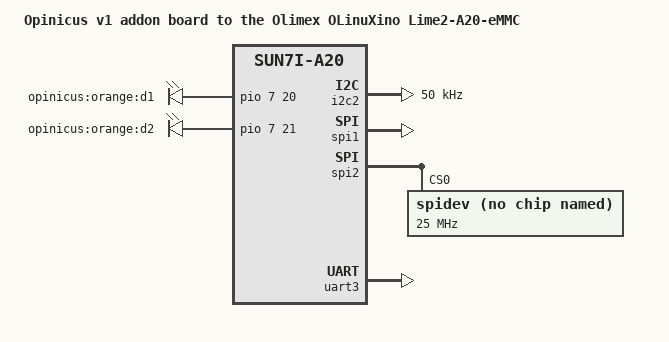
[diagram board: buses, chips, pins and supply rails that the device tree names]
/*
 * Copyright 2015 - Ultimaker B.V.
 * Author Olliver Schinagl <o.schinagl@ultimaker.com>
 *
 * This file is dual-licensed: you can use it either under the terms
 * of the GPL or the X11 license, at your option. Note that this dual
 * licensing only applies to this file, and not this project as a
 * whole.
 *
 *  a) This file is free software; you can redistribute it and/or
 *     modify it under the terms of the GNU General Public License as
 *     published by the Free Software Foundation; either version 2 of the
 *     License, or (at your option) any later version.
 *
 *     This file is distributed in the hope that it will be useful,
 *     but WITHOUT ANY WARRANTY; without even the implied warranty of
 *     MERCHANTABILITY or FITNESS FOR A PARTICULAR PURPOSE.  See the
 *     GNU General Public License for more details.
 *
 * Or, alternatively,
 *
 *  b) Permission is hereby granted, free of charge, to any person
 *     obtaining a copy of this software and associated documentation
 *     files (the "Software"), to deal in the Software without
 *     restriction, including without limitation the rights to use,
 *     copy, modify, merge, publish, distribute, sublicense, and/or
 *     sell copies of the Software, and to permit persons to whom the
 *     Software is furnished to do so, subject to the following
 *     conditions:
 *
 *     The above copyright notice and this permission notice shall be
 *     included in all copies or substantial portions of the Software.
 *
 *     THE SOFTWARE IS PROVIDED "AS IS", WITHOUT WARRANTY OF ANY KIND,
 *     EXPRESS OR IMPLIED, INCLUDING BUT NOT LIMITED TO THE WARRANTIES
 *     OF MERCHANTABILITY, FITNESS FOR A PARTICULAR PURPOSE AND
 *     NONINFRINGEMENT. IN NO EVENT SHALL THE AUTHORS OR COPYRIGHT
 *     HOLDERS BE LIABLE FOR ANY CLAIM, DAMAGES OR OTHER LIABILITY,
 *     WHETHER IN AN ACTION OF CONTRACT, TORT OR OTHERWISE, ARISING
 *     FROM, OUT OF OR IN CONNECTION WITH THE SOFTWARE OR THE USE OR
 *     OTHER DEALINGS IN THE SOFTWARE.
 */

#include "bare-lime2.dts"

#include "ulticontroler_128x64.dtsi"

/ {
    model = "Opinicus v1 addon board to the Olimex OLinuXino Lime2-A20-eMMC";
    compatible = "ultimaker,opinicus-emmcv1", "olimex,a20-olinuxino-lime2", "allwinner,sun7i-a20";

    aliases {
        serial1 = &uart3;
    };

    leds {
        green {
            linux,default-trigger = "mmc0";
        };

        d1 {
            label = "opinicus:orange:d1";
            gpios = <&pio 7 20 GPIO_ACTIVE_HIGH>;
            default-state = "on";
        };

        d2 {
            label = "opinicus:orange:d2";
            gpios = <&pio 7 21 GPIO_ACTIVE_HIGH>;
            default-state = "on";
        };
    };
};

&i2c2 {
    pinctrl-names = "default";
    pinctrl-0 = <&i2c2_pins_a>;
    clock-frequency = <50000>;
    status = "okay";
};

&pio {
    led_pins_opinicus: led_pins@0 {
        allwinner,pins = "PH20";
        allwinner,function = "gpio_out";
        allwinner,drive = <SUN4I_PINCTRL_20_MA>;
        allwinner,pull = <SUN4I_PINCTRL_NO_PULL>;
    };
};

&spi1 {
    pinctrl-names = "default";
    pinctrl-0 = <&spi1_pins_a>;
    status = "okay";
};

&spi2 {
    pinctrl-names = "default";
    pinctrl-0 = <&spi2_pins_a>;
    status = "okay";

    spidev@0 {
        compatible = "spidev";
        spi-max-frequency = <25000000>;
        reg = <0>;
    };
};

&uart3 {
    pinctrl-names = "default";
    pinctrl-0 = <&uart3_pins_a>;
    cts-override;
    status = "okay";
};

